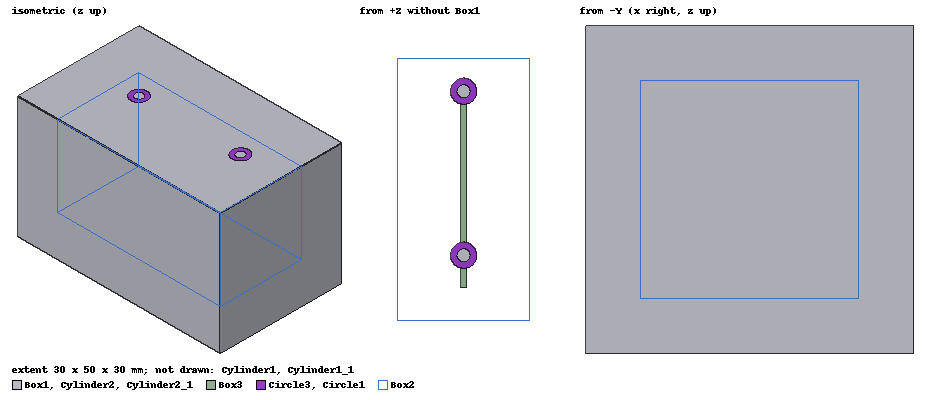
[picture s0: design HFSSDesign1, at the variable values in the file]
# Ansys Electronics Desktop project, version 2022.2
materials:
  vacuum: permittivity=1
  perfect conductor: conductivity=1e+30
  sapphire: permittivity=10

design HFSSDesign1 (HFSS, Eigenmode, model units mm)
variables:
  Xmax = 30mm
  Ymax = 50mm
  Zmax = 30mm
  thivkness = 5mm
  thickness = 5mm
  radius = 2mm
  offset = 10mm
  shiftport = 25mm
  radius1 = 1mm
  sub_xmax = 1mm
  pad_x = 1mm
  pad_y = 0.5mm
  pad_z = 0.5mm
  jj_len = 0.05mm
  Cj = 5pF
  Lj = 10nH
  connector_y = 0.2mm
  con_y = 0.55mm
  con_z = 0.05mm
  offset_y = 0.5mm
  offset_z = -0.1mm
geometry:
  Box1 [perfect conductor] = box(corner=(-Xmax/2, -Ymax/2, -Zmax/2), size=(Xmax, Ymax, Zmax))
  Box2 [vacuum] = box(corner=(-(Xmax - thivkness*2)/2, -(Ymax - thivkness*2)/2, -(Zmax - thivkness*2)/2), size=(Xmax - thivkness*2, Ymax - thickness*2, Zmax - thickness*2))
  Box2_1 = Box2.copy()
  Box1.subtract(Box2_1)
  Cylinder1 [vacuum] = cylinder(axis=Z, base_centre=(0mm, -(Ymax/2-thickness-offset), Zmax/2), radius=radius, height=-thickness)
  Cylinder2 [perfect conductor] = cylinder(axis=Z, base_centre=(0mm, -(Ymax/2-thickness-offset), Zmax/2), radius=radius1, height=-thickness)
  Cylinder1_1 [vacuum] = Cylinder1.duplicate_along_line(step=(0mm, shiftport, 0mm), total=2)
  Cylinder2_1 [perfect conductor] = Cylinder2.duplicate_along_line(step=(0mm, shiftport, 0mm), total=2)
  Circle1 = circle(normal=Z, centre=(0mm, -(Ymax/2-thickness-offset), Zmax/2), radius=radius)
  Circle2 = circle(normal=Z, centre=(0mm, -(Ymax/2-thickness-offset), Zmax/2), radius=radius1)
  Circle1.subtract(Circle2)
  Circle3 = circle(normal=Z, centre=(0mm, 15mm, 15mm), radius=radius)
  Circle4 = circle(normal=Z, centre=(0mm, 15mm, 15mm), radius=radius1)
  Circle3.subtract(Circle4)
  Box3 [sapphire] = box(corner=(-sub_xmax/2, -(Ymax - 2*thickness - 2*5mm)/2, -(Zmax - 2*thickness - 2*5mm)/2), size=(sub_xmax, Ymax - 2*thickness - 2*5mm, Zmax - 2*thickness - 2*5mm))
  plane Plane1 = base (6mm, 2mm, 0mm) normal (-2mm, 0mm, 0mm)
  plane Plane2 = base (4mm, 0.5mm, 0mm) normal (2mm, 0mm, 0mm)
  plane Plane3 = base (5mm, 0mm, 0mm) normal (-3mm, -0.5mm, 0mm)
  pad_down = rectangle(corner=(sub_xmax/2, -pad_y/2, -pad_z - jj_len/2), y_size=pad_y, z_size=pad_z)
  pad_up = pad_down.duplicate_along_line(step=(0mm, 0mm, pad_z + jj_len), total=2)
  josephson_junction = rectangle(corner=(sub_xmax/2, -jj_len/2, -jj_len/2), y_size=jj_len, z_size=jj_len)
  Polyline1 = polyline((sub_xmax/2, 0mm, - jj_len/2) (sub_xmax/2, 0mm, jj_len/2))
  pad_down_1 = pad_down.duplicate_along_line(step=(0mm, 1mm, 0mm), total=2)
  pad_up_1 = pad_up.duplicate_along_line(step=(0mm, 1mm, 0mm), total=2)
  josephson_junction_1 = josephson_junction.duplicate_along_line(step=(0mm, 1mm, 0mm), total=2)
  Polyline1_1 = Polyline1.duplicate_along_line(step=(0mm, 1mm, 0mm), total=2)
  Rectangle1 = rectangle(corner=(sub_xmax/2, -con_y/2  + offset_y, -con_z/2 + offset_z), y_size=con_y, z_size=con_z)
  Rectangle1.unite(pad_down_1, pad_down)
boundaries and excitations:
  LumpRLC1: Lumped RLC Objects=Circle1 CurrentLine{(-50mm, -9000mm, 15000mm) -> (250mm, -8050mm, 15000mm)} RLC_Type=Parallel Resistance=50ohm
  LumpRLC2: Lumped RLC Objects=Circle3 CurrentLine{(-100mm, 16000mm, 15000mm) -> (-50mm, 16950mm, 15000mm)} RLC_Type=Parallel Resistance=50ohm
  PerfE2: Perfect E Objects=pad_up
  LumpRLC3: Lumped RLC Objects=josephson_junction CurrentLine{(500mm, -2mm, -24mm) -> (500mm, 0mm, 24mm)} RLC_Type=Parallel Inductance=Lj
  PerfE4: Perfect E Objects=pad_up_1
  LumpRLC4: Lumped RLC Objects=josephson_junction_1 CurrentLine{(500mm, 998mm, -24mm) -> (500mm, 1000mm, 24mm)} RLC_Type=Parallel Inductance=Lj
  PerfE5: Perfect E Objects=Rectangle1
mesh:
  Length1: LengthBased RefineInside Objects=josephson_junction NumMaxElem=10000 MaxLength=0.001mm
  Length2: LengthBased RefineInside Objects=josephson_junction_1 NumMaxElem=10000 MaxLength=0.001mm
  Length3: LengthBased RefineInside Objects=pad_up NumMaxElem=10000 MaxLength=0.001mm
  Length4: LengthBased RefineInside Objects=pad_up_1 NumMaxElem=10000 MaxLength=0.001mm
  Length5: LengthBased RefineInside Objects=Rectangle1 NumMaxElem=10000 MaxLength=0.03mm
  Length6: LengthBased RefineInside Objects=Box2 NumMaxElem=1000 MaxLength=8mm
  Length7: LengthBased RefineInside Objects=Cylinder1 NumMaxElem=1000 MaxLength=2mm
  Length8: LengthBased RefineInside Objects=Cylinder1_1 MaxLength=1mm
  Length9: LengthBased Objects=Box3 NumMaxElem=1000 MaxLength=8mm
  Length10: LengthBased Objects=Box1 MaxLength=10mm
  Length11: LengthBased Objects=Cylinder2_1 MaxLength=1mm
  Length12: LengthBased RefineInside Objects=Cylinder2 MaxLength=1mm
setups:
  Setup1: HfssEigen MinimumFrequency=3GHz NumModes=3 MaxDeltaFreq=10 ConvergeOnRealFreq=false MaximumPasses=10 MinimumPasses=1 MinimumConvergedPasses=1 PercentRefinement=30 BasisOrder=1
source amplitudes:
  #-10:1: 1 0
  #-10:2, #-10:3: 0 0
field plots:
  Mesh1: MeshPlots on Setup1 : LastAdaptive at Phase=0deg
  Mag_H1: H Field on Setup1 : LastAdaptive at Phase=0deg
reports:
  Eigen Modes Plot 1: re(Mode(1)), re(Mode(2)), re(Mode(3)) vs Xmax on Setup1 : LastAdaptive
  Eigen Modes Plot 2: re(Mode(1)), re(Mode(2)), re(Mode(3)) vs Pass on Setup1 : AdaptivePass
  Eigen Q Plot 1: Q(1), Q(2), Q(3) vs Pass on Setup1 : AdaptivePass; markers m1 at 5, m2 at 5, m3 at 4.8902175, m4 at 4.8902175, m5 at 4.8900967, m6 at 4.8900994, m7 at 4.8901025, m8 at 4.8901099, m9 at 4.8900512
